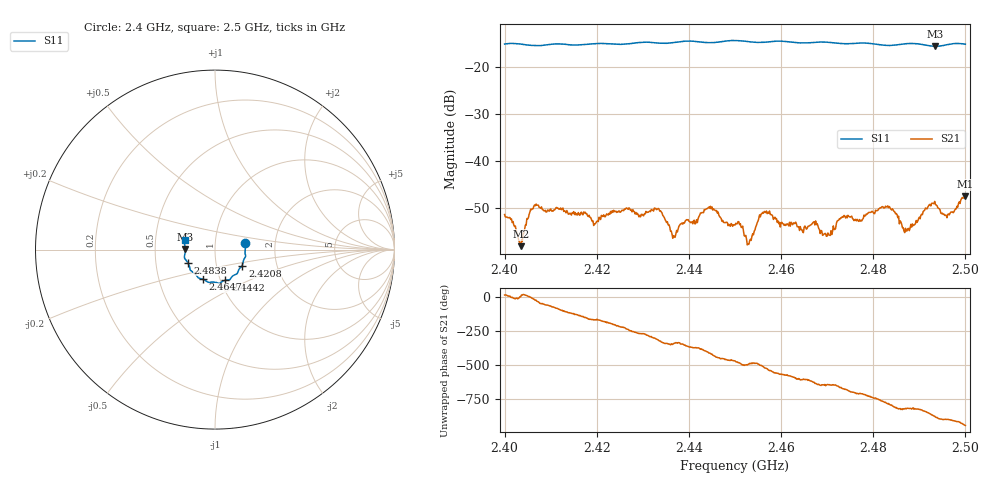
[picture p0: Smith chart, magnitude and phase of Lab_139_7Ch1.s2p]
# Hz S RI R 50
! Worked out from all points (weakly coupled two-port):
!   601 points, 2.4 GHz to 2.5 GHz, reference 50 ohm
!   highest |S21| = -47.45 dB at 2.5 GHz (marker M1); lowest = -58.0 dB at 2.4035 GHz (marker M2)
!   lowest |S11| = -15.7 dB at 2.4935 GHz (marker M3), VSWR 1.39, Z = 35.9 + j0.134 ohm
!   |S11| at or under -10 dB: start of sweep to end of sweep
!   S12 and S22 are empty: the file has one direction only
!   S11 on the Smith chart (normalised r, x): 2.4 GHz: 1.40, +0.11; 2.4208 GHz: 1.33, -0.25; 2.4442 GHz: 1.06, -0.37; 2.4647 GHz: 0.83, -0.28; 2.4838 GHz: 0.73, -0.11; 2.5 GHz: 0.71, +0.08
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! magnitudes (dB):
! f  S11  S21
! 2.4 GHz  -15.2  -51.3
! 2.4035 GHz  -15.2  -58.0
! 2.4068 GHz  -15.5  -49.1
! 2.4167 GHz  -15.3  -50.8
! 2.4208 GHz  -15.1  -52.4
! 2.4333 GHz  -15.0  -50.1
! 2.4367 GHz  -14.9  -55.8
! 2.4442 GHz  -14.9  -49.9
! 2.45 GHz  -14.4  -53.6
! 2.453 GHz  -14.7  -57.7
! 2.4563 GHz  -14.8  -50.7
! 2.4647 GHz  -15.0  -54.9
! 2.4667 GHz  -14.9  -53.4
! 2.4702 GHz  -14.8  -55.3
! 2.4732 GHz  -15.1  -52.0
! 2.4772 GHz  -15.0  -52.7
! 2.4833 GHz  -15.5  -49.9
! 2.4838 GHz  -15.5  -50.2
! 2.4873 GHz  -15.1  -54.8
! 2.4935 GHz  -15.7  -49.2
! 2.496 GHz  -15.3  -52.0
! 2.5 GHz  -15.2  -47.4
